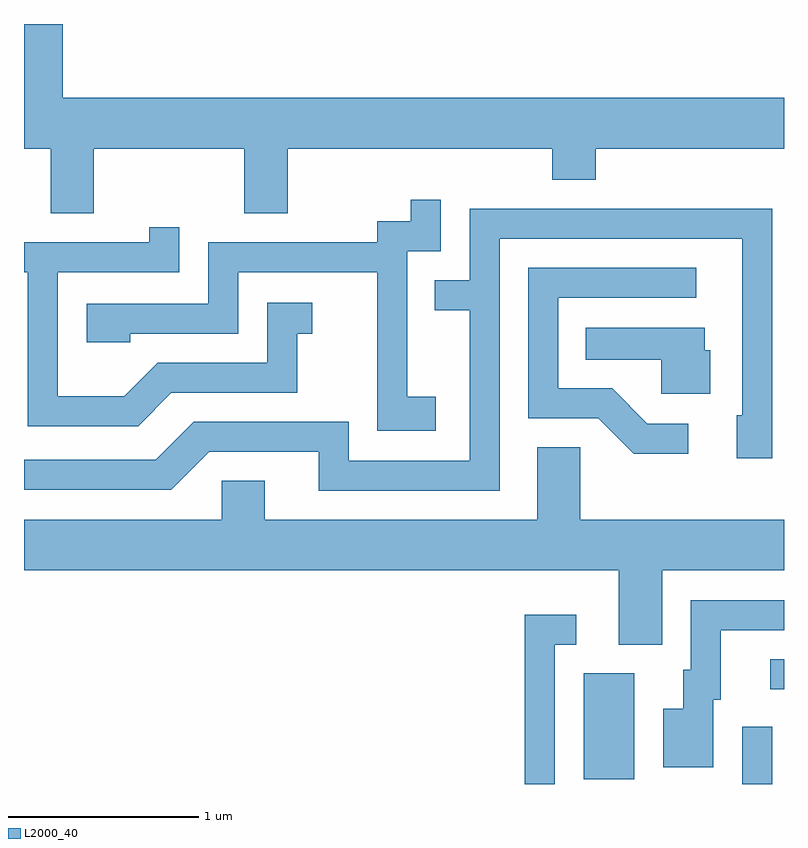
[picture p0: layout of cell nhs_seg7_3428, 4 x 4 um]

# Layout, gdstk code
import gdstk
lib = gdstk.Library(unit=1e-6, precision=1e-09)
def R(c, l, rs):  # rectangles x0, y0, x1, y1
    for r in rs: c.add(gdstk.rectangle(r[:2], r[2:], *l))
def P(c, l, *ps):  # polygons
    for p in ps: c.add(gdstk.Polygon(p, *l))
L2000_40 = (2000, 40)

nhs_seg7_3428 = lib.new_cell('nhs_seg7_3428')
R(nhs_seg7_3428, L2000_40, [(293.391,1764.252,293.549,1764.553), (292.556,1764.276,292.824,1764.834), (293.538,1764.751,293.611,1764.909)])
P(nhs_seg7_3428, L2000_40, [(289.979,1767.596),(290.771,1767.596),(290.771,1767.256),(290.999,1767.256),(290.999,1767.596),(292.391,1767.596),(292.391,1767.431),(292.619,1767.431),(292.619,1767.596),(293.611,1767.596),(293.611,1767.864),(289.814,1767.864),(289.814,1768.252),(289.611,1768.252),(289.611,1767.596),(289.751,1767.596),(289.751,1767.256),(289.979,1767.256)],
  [(291.779,1766.289),(291.629,1766.289),(291.629,1767.056),(291.804,1767.056),(291.804,1767.328),(291.646,1767.328),(291.646,1767.214),(291.471,1767.214),(291.471,1767.104),(290.581,1767.104),(290.581,1766.779),(289.941,1766.779),(289.941,1766.576),(290.169,1766.576),(290.169,1766.621),(290.739,1766.621),(290.739,1766.946),(291.471,1766.946),(291.471,1766.111),(291.779,1766.111)],
  [(292.114,1767.121),(293.391,1767.121),(293.391,1766.194),(293.361,1766.194),(293.361,1765.966),(293.549,1765.966),(293.549,1767.279),(291.956,1767.279),(291.956,1766.904),(291.773,1766.904),(291.773,1766.746),(291.956,1766.746),(291.956,1765.954),(291.319,1765.954),(291.319,1766.159),(290.504,1766.159),(290.304,1765.959),(289.611,1765.959),(289.611,1765.801),(290.387,1765.801),(290.587,1766.001),(291.161,1766.001),(291.161,1765.796),(292.114,1765.796)],
  [(290.387,1766.311),(291.049,1766.311),(291.049,1766.621),(291.128,1766.621),(291.128,1766.784),(290.891,1766.784),(290.891,1766.469),(290.314,1766.469),(290.139,1766.294),(289.789,1766.294),(289.789,1766.946),(290.429,1766.946),(290.429,1767.183),(290.271,1767.183),(290.271,1767.104),(289.611,1767.104),(289.611,1766.946),(289.631,1766.946),(289.631,1766.136),(290.212,1766.136)],
  [(293.108,1766.149),(292.892,1766.149),(292.707,1766.334),(292.424,1766.334),(292.424,1766.811),(293.148,1766.811),(293.148,1766.969),(292.266,1766.969),(292.266,1766.176),(292.634,1766.176),(292.819,1765.991),(293.108,1765.991)],
  [(293.224,1766.534),(293.194,1766.534),(293.194,1766.654),(292.568,1766.654),(292.568,1766.486),(292.966,1766.486),(292.966,1766.306),(293.224,1766.306)],
  [(292.741,1764.986),(292.969,1764.986),(292.969,1765.376),(293.611,1765.376),(293.611,1765.644),(292.539,1765.644),(292.539,1766.024),(292.311,1766.024),(292.311,1765.644),(290.879,1765.644),(290.879,1765.849),(290.651,1765.849),(290.651,1765.644),(289.611,1765.644),(289.611,1765.376),(292.741,1765.376)],
  [(293.239,1764.696),(293.279,1764.696),(293.279,1765.061),(293.611,1765.061),(293.611,1765.219),(293.121,1765.219),(293.121,1764.854),(293.081,1764.854),(293.081,1764.649),(292.976,1764.649),(292.976,1764.341),(293.239,1764.341)],
  [(292.404,1764.986),(292.518,1764.986),(292.518,1765.144),(292.246,1765.144),(292.246,1764.252),(292.404,1764.252)])

lib.write_gds('nhs_seg7_3428.gds')
